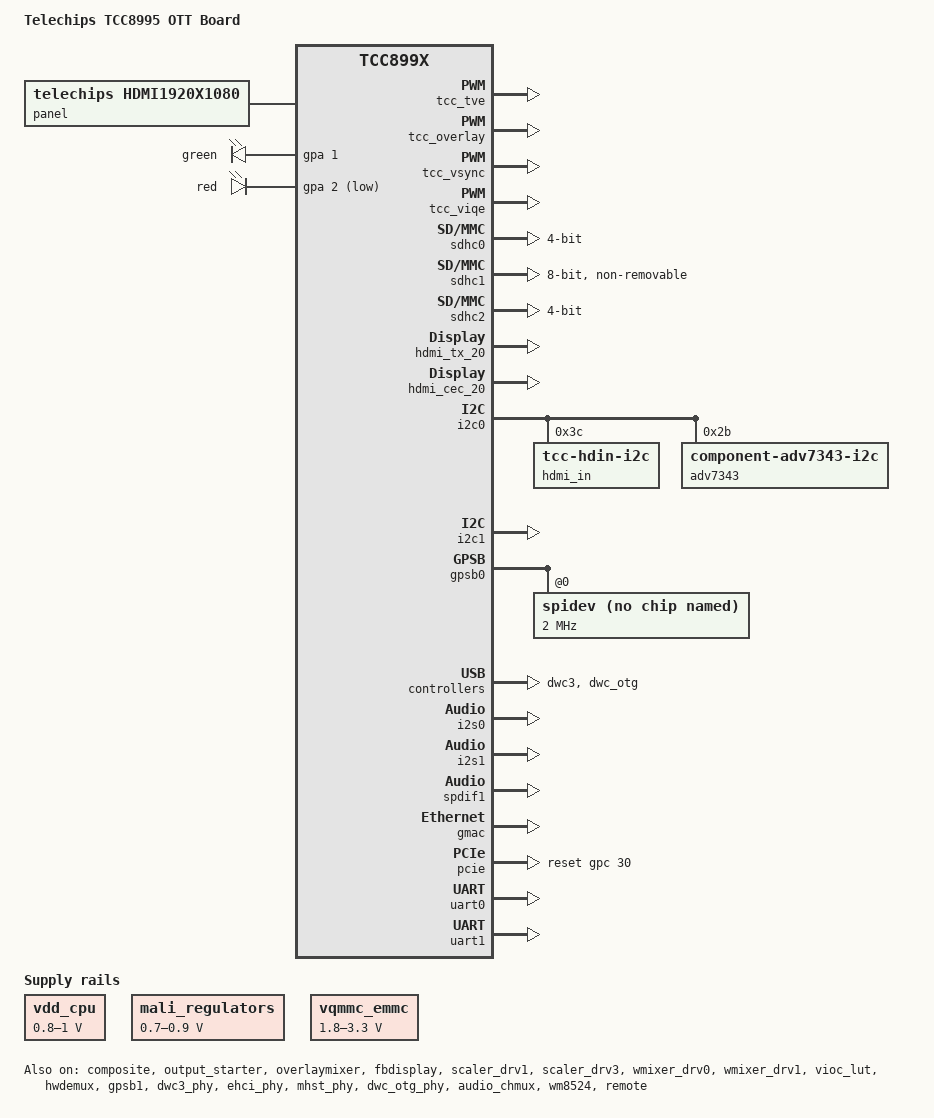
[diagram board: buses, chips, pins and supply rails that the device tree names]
// SPDX-License-Identifier: (GPL-2.0+ OR MIT)
/*
 * Device tree for Telechips TCC8990 STB board
 *
 * Copyright (C) 2018 Telechips Inc.
 */

#ifndef DT_OVERLAY
#include "tcc8990.dtsi"
#endif

#include "tcc899x-android.dtsi"

/ {
	model = "Telechips TCC8995 OTT Board";
	compatible = "telechips,tcc8995", "telechips,tcc899x";
};

&chosen {
};

&vdd_cpu {
	compatible = "regulator-gpio";

	regulator-name = "vdd_cpu0";
	regulator-min-microvolt = < 800000>;
	regulator-max-microvolt = <1000000>;
	regulator-type = "voltage";
	regulator-always-on;

	gpios = <&gpd 17 0x4
	         &gpd 16 0x4>;

	gpios-states = <0 1>;

	states = < 800000 0x1
		900000 0x2
		1000000 0x3
	>;

	startup-delay-us = <100000>;
	enable-active-high;
};

&mali_regulators {
	compatible = "regulator-gpio";

	regulator-name = "vdd_mali";
	regulator-min-microvolt = <700000>;
	regulator-max-microvolt = <900000>;
	regulator-type = "voltage";
	regulator-always-on;

	gpios = <&gpd 7 0x4
		&gpd 15 0x4>;
	gpios-states = <1 0>;

	states = < 700000 0x1
		800000 0x2
		900000 0x3
		>;

	startup-delay-us = <100000>;
	enable-active-high;
};

&gpu {
        operating-points-v2 = <&gpu_opp_table>;
};

&gpu_opp_table {
	opp@444000000 {
		opp-hz = /bits/ 64 <444000000>;
		opp-hz-real = /bits/ 64 <444000000>;
		opp-microvolt = <700000>;
		opp-core-mask = /bits/ 64 <0x3>;
	};
	opp@592000000 {
		opp-hz = /bits/ 64 <592000000>;
		opp-hz-real = /bits/ 64 <592000000>;
		opp-microvolt = <800000>;
		opp-core-mask = /bits/ 64 <0x3>;
	};
	opp@666000000 {
		opp-hz = /bits/ 64 <666000000>;
		opp-hz-real = /bits/ 64 <666000000>;
		opp-microvolt = <900000>;
		opp-core-mask = /bits/ 64 <0x3>;
	};
};

&tcc_pm {
	wakeup,powerkey = <PMU_WKUP_GP_G11 WAKEUP_ACT_LO>;
	//gpio-powers = <&gpd 20 0>;              /* SLP_PWRCTL */
};

&panel {
	status = "okay";
	compatible = "telechips,hdmi1920x1080";
};

&tcc_tve {
	status = "okay";
};

&composite {
	status = "okay";
};

&component {
	status = "disable";
	io_port_num = <1>;	/* TCC899x: LCDC interface 1 (L1_XXX) */
};

&output_starter {
	status = "okay";
};

&overlaymixer {
	status ="okay";
	contiguousSize = <0x1000000>;  /* 16MB (if > 512MB RAM) refer to Guide 27 Page */
	baseAddress = <0x20000000>;
	physSize = <0x80000000>; /*  DRAM size (0x40000000 = 1GB, 0x80000000 = 2GB) */
};

&fbdisplay {
	telechips,fbdisplay_num = <0>;
	status ="okay";
};

&tcc_overlay {
	compatible = "telechips,tcc_overlay";
	status = "okay";
	fbdisplay-overlay = <&fbdisplay>;
};

&tcc_vsync {
	compatible = "telechips,tcc_vsync";
	display-vioc0 = <&vioc_disp VIOC_DISP0>;
	display-vioc1 = <&vioc_disp VIOC_DISP1>;
	status = "okay";
};

&tcc_viqe {
	compatible = "telechips,tcc_viqe";
	status ="okay";
	tcc_viqe_viqe_common {
		board_num=<1>;
	};
};

&scaler_drv1 {
	rdmas = <&vioc_rdma VIOC_RDMA16>;
	scalers = <&vioc_scaler VIOC_SCALER1 VIOC_SC_RDMA_16>;	/* id:1, path:17 */
	wmixs = <&vioc_wmix VIOC_WMIX5>;	/* id:5, path:6 */
	wdmas = <&vioc_wdma VIOC_WDMA06>;
	settop_support = <1>;
	status = "okay";
};

&scaler_drv3 {
	rdmas = <&vioc_rdma VIOC_RDMA07>;
	scalers = <&vioc_scaler VIOC_SCALER3 VIOC_SC_RDMA_07>;	/* id:3, path:7 */
	wmixs = <&vioc_wmix VIOC_WMIX1>;	/* id:1, path:3 */
	wdmas = <&vioc_wdma VIOC_WDMA01>;
	settop_support = <1>;
	status = "okay";
};

&wmixer_drv0 {
	status = "okay";
};

&wmixer_drv1 {
	status = "okay";
};
&vioc_lut {
	status = "okay";
};

/* TBD */
&sdhc0 {
	//status = "okay";
	controller-id = <0>;
	bus-width = <4>;
	max-frequency = <200000000>;
	pinctrl-names = "default", "active";
	pinctrl-0 = <&sd0_2_idle>;
	pinctrl-1 = <&sd0_2_clk &sd0_2_cmd &sd0_2_bus4>;
};

/* eMMC */
&vqmmc_emmc {
	compatible = "regulator-gpio";

	regulator-name = "vqmmc_emmc";
	regulator-min-microvolt = <1800000>;
	regulator-max-microvolt = <3300000>;
	regulator-type = "voltage";
	regulator-ramp-delay = <10>;
	regulator-always-on;

	gpios = <&gpa 4 0x4>;
	gpios-states = <0>;
	states = < 1800000 0x0
		3300000 0x1
	>;
};

&sdhc1 {
	status = "okay";
	compatible = "telechips,tcc-sdhci";
	controller-id = <1>;
	pinctrl-names = "default";
	pinctrl-0 = <&sd1_1_clk &sd1_1_cmd &sd1_1_bus8>;

	bus-width = <8>;
	max-frequency = <200000000>;

	non-removable;
	keep-power-in-suspend;
	disable-wp;
	cap-mmc-hw-reset;
	mmc-ddr-1_8v;

	tcc-mmc-reset = <&gpa 6 0>;

	vqmmc-supply = <&vqmmc_emmc>;
};

	/* SUB Board */
&sdhc2 {
	status = "okay";
	controller-id = <2>;
	bus-width = <4>;
	max-frequency = <200000000>;
	pinctrl-names = "default";
	pinctrl-0 = <&sd2_1_clk &sd2_1_cmd &sd2_1_bus4>;
};

&hdmi_tx_20 {
	status = "okay";
	hdmi_ref_src_clock = <0>; // 0 XIN, 1 X-TAL, 2 PERI, 3, PMU XIN
	hdmi_phy_type = <1>; // 0 8990, 1 8995_OTT

	/* Source Product Description */
	product_description = "TCC8995_ott";
};

&hdmi_cec_20 {
	status = "okay";
};

&tcc_dxb_ctrl {
	compatible = "telechips,tcc_dxb_ctrl";
	pw-gpios   = <&gpe 20 0>;
	dxb0-gpios = <&gpe 22 0>, <&gpe 21>, <&gpd 2 0>, <>;
	dxb1-gpios = <>, <>, <>, <>;
	ant-gpios  = <>, <>;
};

/* I2C */

// Default set
&i2c0 {
	port-mux = <9>;
	status = "okay";
	pinctrl-names = "default";
	pinctrl-0 = <&i2c9_bus>;

	hdmi_in@78 {
		compatible = "tcc-hdin-i2c";
		reg = <0x3C>;
	};

	adv7343@20 {
		compatible = "component-adv7343-i2c";
		reg = <0x2b>;	/* ALSB=1, Write=0x56, Read=0x57 */
	};
};

// DXB
&i2c1 {
	port-mux = <8>;
	status = "okay";
	pinctrl-names = "default";
	pinctrl-0 = <&i2c8_bus>;
};

/* H/W Demux */
&hwdemux {
	compatible = "telechips,hwdemux";
	status = "okay";
};

/* Linux TV */
&tcc_hwdmx_tsif0 {
	compatible = "telechips,tcc89xx-hwdmx-tsif";
	tsif-port = <2>;
	pinctrl-names = "idle", "active";
	pinctrl-0 = <&tsrx2_idle>;
	pinctrl-1 = <&tsrx2_active>;
};

&tcc_hwdmx_tsif1 {
	compatible = "telechips,tcc89xx-hwdmx-tsif";
	tsif-port = <3>;
//	pinctrl-names = "idle", "active";
//	pinctrl-0 = <&tsrx3_idle>;
//	pinctrl-1 = <&tsrx3_active>;
};

/* TODO: Need to modify it
&hdmi_in {
	compatible = "telechips-hdin";
	status = "okay";
	pinctrl-names = "default";
	pinctrl-0 = <&hdin_clki &hdin_hsync &hdin_vsync &hdin_data &hdin_de>;
	clocks = <&clk_ddi DDIBUS_VIOC>;
	hdin_port = <&cifport 3 1>;
	hdin_wmixer = <&vioc_wmix 5>;
	hdin_wdma = <&vioc_wdma 5>;
	hdin_videoin = <&vioc_vin 4 0>;
	hdin_scaler = <&vioc_scaler 0>;
	hdin_config = <&vioc_config 0>;
	hdin_viqe = <&vioc_viqe 0>;

	ep9553t {
		rst-gpios = <&gpe 31 0>;
		pwr-gpios = <&gpf 30 0>;
		key-gpios = <&gpg 15 0>;
		int-gpios = <&gpg 13 1>;
		polarity_hsync = <1>;
		polarity_vsync = <1>;
		field_bfield_low = <0>;
		polarity_data_en = <0>;
		gen_field_en = <1>;
		polarity_pclk = <1>;
		conv_en = <0>;
		hsde_connect_en = <0>;
		vs_mask = <0>;
		input_fmt = <0>;
		data_order = <5>;
		intpl_en = <0>;
		wdma_swap_order = <1>;
	};
};
*/

/* GPSB */
&gpsb0 {
	status = "okay";
	gpsb-port = <3>;
	pinctrl-names = "idle", "active";
	pinctrl-0 = <&gpsb3_bus_idle>;
	pinctrl-1 = <&gpsb3_bus_spi>;

	#address-cells = <1>;
	#size-cells = <0>;
	spidev@0 {
		compatible = "rohm,dh2228fv";
		reg = <0>;
		spi-max-frequency = <2000000>;
	};
};

&gpsb1 {
	status = "okay";
	gpsb-port = <5>;
	pinctrl-names = "idle", "active";
	pinctrl-0 = <&gpsb5_bus_idle>;
	pinctrl-1 = <&gpsb5_bus_tsif>;
};

/*
&gpsb2 {
	status = "okay";
	gpsb-port = <4>;
	pinctrl-names = "idle", "active";
	pinctrl-0 = <&gpsb4_bus_idle>;
	pinctrl-1 = <&gpsb4_bus_tsif>;
};
*/

/* TODO : Need to decide port for each gpsb channel
&gpsb3 {
	status = "okay";
	gpsb-port = <4>;
	pinctrl-names = "default";
	pinctrl-0 = <&gpsb5_bus>;
};

&gpsb4 {
	status = "okay";
	gpsb-port = <?>;
	pinctrl-names = "default";
	pinctrl-0 = <&gpsb5_bus>;
};
*/

/* USB 3.0 DRD */
&dwc3_phy {
	status = "okay";
	vbus-ctrl-able;
	vbus-gpio = <&gpd 19 0>;
};
&dwc3 {
	status = "okay";
	//usb3en-ctrl-able;
	//usb3en-gpio = <&gpc 22 0>;
	//vbus-source-ctrl;
	vbus-ctrl-able;
	vbus-gpio = <&gpd 19 0>;
	//pinctrl-names = "default";
	//vdd_dwc-supply = <&vdd_v5p0_reg>;
};

/* USB 2.0 HOST */
&ehci_phy {
	status = "okay";
	vbus-ctrl-able;
	vbus-gpio = <&gpd 15 0>;
};

&mhst_phy {
	status = "okay";
	vbus-ctrl-able;
	vbus-gpio = <&gpd 18 0>;
};

&dwc_otg_phy {
	status = "okay";
	vbus-ctrl-able;
	vbus-gpio = <&gpd 18 0>;
};

&ehci {
	status = "disable";
	hcd_id = <0>;
	phy-type = <1>;	    //pico phy = 1, nano phy = 0
	//hosten-ctrl-able;
	//hosten-gpio = <&gpe 15 0>;
	//vbus-ctrl-able;
	//vbus-gpio = <&gpd 15 0>;
	//vbus-source-ctrl;
	//pinctrl-names = "default";
	//vdd_ehci-supply = <&vdd_v5p0_reg>;

	//sq_level_ctl;
	TXVRT = <0xB>;
	TXRISET = <0x3>;
	TXAT = <0x1>;
};

&ohci {
	status = "disable";
	//hosten-ctrl-able;
	//hosten-gpio = <&gpe 15 0>;
	//vbus-ctrl-able;
	//vbus-gpio = <&gpd 15 0>;
	//vbus-source-ctrl;
	//vdd_ohci-supply = <&vdd_v5p0_reg>;
};

/* USB 2.0 OTG */
&dwc_otg {
	status = "okay";
	phy-type = <1>;     //pico phy = 1, nano phy = 0

	vbus-ctrl-able;
	vbus-gpio = <&gpd 18 0>;
};

&audio_chmux {
	compatible = "telechips,audio-chmux-899x";
	dai = <0 1>; // i2s0(x) i2s1(x)
	cdif = <99 99>; // cdif0(x) cdif1(x)
	spdif = <99 1>; // spdif0(x) spdif1(x)
	status = "okay";
};

&i2s0 {
	status = "okay";
};

&i2s1 {
	pinctrl-names = "default", "idle";
	pinctrl-0 = <&m1dai1_clks &m1dai1_dao0>;
	pinctrl-1 = <&m1dai1_clks_idle &m1dai1_dao0_idle>;
	status = "okay";
};

&spdif0	{
	pinctrl-names = "default", "idle";
	pinctrl-0 = <&m0dai1_spdif_tx>;
	pinctrl-1 = <&m0dai1_spdif_tx_idle>;
	status = "disable";
};

&spdif1	{
	pinctrl-names = "default", "idle";
	pinctrl-0 = <&m1dai1_spdif_tx>;
	pinctrl-1 = <&m1dai1_spdif_tx_idle>;
	status = "okay";
};

&adma0 {
	status = "okay";
};

&adma1 {
	status = "okay";
};

&wm8524 {
	compatible = "wolfson,wm8524";
	status = "okay";

	/*codec_aif-gpios = <&gpd 6 0>;*/
	codec_mute_ang-gpios = <&gpg 19 0>;
	codec_mute_ctl-gpios = <&gpg 17 0>;
	/* value to enable mute*/
	codec_mute_ang-mute_value = <0>;
};

&sound {
	compatible = "telechips,snd-card";
	card-name = "TCC8995 OTT Card";
	status = "okay";

	telechips,dai-link@0 {
		stream-name="I2S_1";

		codec,format = "i2s"; // i2s, left_j, right_j
		codec,continuous-clock;

		mclk_div = <4>; // 4,6,8,16
		bclk_ratio = <64>; // 32,48,64fs
		pcm = <&adma1>;
		dai = <&i2s1>;
		codec = <&wm8524>;
		codec,dai-name = "wm8524-hifi";
	};

	telechips,dai-link@1 {
		stream-name="I2S_0_HDMI_PATHTRU";

		codec,format = "i2s"; // i2s, left_j, right_j
		codec,continuous-clock;

		mclk_div = <4>; // 4,6,8,16
		bclk_ratio = <64>; // 32,48,64fs
		pcm = <&adma0>;
		dai = <&i2s0>;
	};

	telechips,dai-link@2 {
		stream-name="SPDIF_1_TX";

		pcm = <&adma1>;
		dai = <&spdif1>;
		playback-only;
	};
};

&remote {
	int-gpios = <&gpc 28 0>;
	pinctrl-names = "default";
	pinctrl-0 = <&remote_c28>;
	wakeupsrc = <011>; //RMISEL is 0x3 : GPIO_C28
	status = "okay";
};

&gmac {
	status = "okay";
	phyrst-gpio = <&gpc 9 0>;
	phy-interface = "rgmii";
	ecid-mac-addr;

	txclk-o-dly = <0>;
	txclk-o-inv = <1>;
	txclk-o-dly_es = <2>;
	txclk-o-inv_es = <0>;
	txclk-o-dly_cs = <6>;
	txclk-o-inv_cs = <0>;

	txen-dly = <0>;
	txer-dly = <0>;
	txd0-dly = <0>;
	txd1-dly = <0>;
	txd2-dly = <0>;
	txd3-dly = <0>;
	txd4-dly = <0>;
	txd5-dly = <0>;
	txd6-dly = <0>;
	txd7-dly = <0>;

	rxclk-i-dly = <4>;
	rxclk-i-inv = <1>;
	rxclk-i-dly_es = <17>;
	rxclk-i-inv_es = <0>;
	rxclk-i-dly_cs = <16>;
	rxclk-i-inv_cs = <0>;

	rxdv-dly = <0>;
	rxer-dly = <0>;
	rxd0-dly = <0>;
	rxd1-dly = <0>;
	rxd2-dly = <0>;
	rxd3-dly = <0>;
	rxd4-dly = <0>;
	rxd5-dly = <0>;
	rxd6-dly = <0>;
	rxd7-dly = <0>;
	crs-dly = <0>;
	col-dly = <0>;
	pinctrl-names = "default", "mii", "rmii", "gmii", "rgmii";
	pinctrl-0 = <>;
	pinctrl-1 = <&gmac1_mdc &gmac1_mdio &gmac1_col &gmac1_crs &gmac1_txer &gmac1_rxer
		     &gmac1_txclk &gmac1_txen &gmac1_txd0 &gmac1_txd1 &gmac1_txd2 &gmac1_txd3
		     &gmac1_rxclk &gmac1_rxdv &gmac1_rxd0 &gmac1_rxd1 &gmac1_rxd2 &gmac1_rxd3>;
	pinctrl-2 = <&gmac1_mdc &gmac1_mdio
		     &gmac1_txclk &gmac1_txen &gmac1_txd0 &gmac1_txd1
		     &gmac1_rxer &gmac1_rxdv &gmac1_rxd0 &gmac1_rxd1>;
	pinctrl-3 = <&gmac1_mdc &gmac1_mdio &gmac1_col &gmac1_crs &gmac1_txer &gmac1_rxer
		     &gmac1_txclk &gmac1_txen &gmac1_txd0 &gmac1_txd1 &gmac1_txd2 &gmac1_txd3
		     &gmac1_txd4 &gmac1_txd5 &gmac1_txd6 &gmac1_txd7
		     &gmac1_rxclk &gmac1_rxdv &gmac1_rxd0 &gmac1_rxd1 &gmac1_rxd2 &gmac1_rxd3
		     &gmac1_rxd4 &gmac1_rxd5 &gmac1_rxd6 &gmac1_rxd7>;
	pinctrl-4 = <&gmac1_mdc &gmac1_mdio
		     &gmac1_txclk &gmac1_txen &gmac1_txd0 &gmac1_txd1 &gmac1_txd2 &gmac1_txd3
		     &gmac1_rxclk &gmac1_rxdv &gmac1_rxd0 &gmac1_rxd1 &gmac1_rxd2 &gmac1_rxd3>;
};

&pcie {
	reset-gpio = <&gpc 30 0>;
	//status = "okay";
};

&thermal {
	compatible = "telechips,tcc-thermal";
	reg = <0x14700000 0x4 0x14700030 0x4 0x14200290 0x4 0x1420029C 0x4>;
	clocks = <&clk_isoip_top ISOIP_TOP_TSEN>;
	status = "okay";

	throttle_count = <5>;
	throttle_active_count = <0>;
	throttle_passive_count = <5>;

	cal_type = "TYPE_ONE_POINT_TRIMMING";
	polling-delay-idle = <0>;
	polling-delay-passive = <0>;

	throttle_table {
		throttle_tab_0 {
			temp = <75>;
			freq_max_cluster0 = <1000000>;
			freq_max_cluster1 = <900000>;
		};
		throttle_tab_1 {
			temp = <80>;
			freq_max_cluster0 = <900000>;
			freq_max_cluster1 = <810000>;
		};
		throttle_tab_2 {
			temp = <85>;
			freq_max_cluster0 = <800000>;
			freq_max_cluster1 = <720000>;
		};
		throttle_tab_3 {
			temp = <90>;
			freq_max_cluster0 = <700000>;
			freq_max_cluster1 = <630000>;
		};
		throttle_tab_4 {
			temp = <95>;
			freq_max_cluster0 = <600000>;
			freq_max_cluster1 = <540000>;
		};
	};
};

&gpio_leds {
	compatible = "gpio-leds";
	green {
		gpios = <&gpa 1 0>;
		default-state = "on";
	};
	red {
		gpios = <&gpa 2 1>;
		default-state = "on";
	};
};

&uart0 {
	pinctrl-names = "default";
	pinctrl-0 = <&uart2_data>;
	status = "okay";
};

/* bluetooth */
&uart1 {
	pinctrl-names = "default";
	pinctrl-0 = <&uart4_data &uart4_rtscts>;
	dmas = <&udma1 2 2 &udma1 3 2>;
	dma-names = "tx", "rx";
	status = "okay";
};
